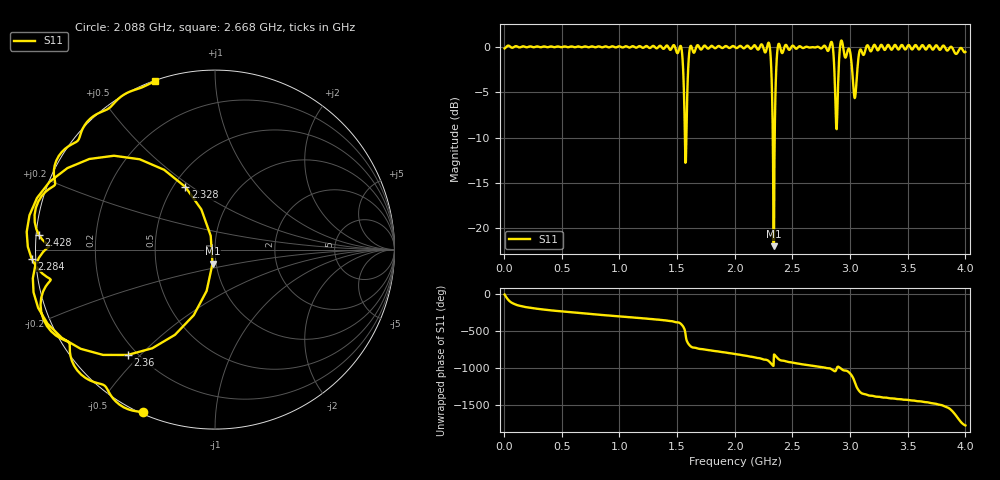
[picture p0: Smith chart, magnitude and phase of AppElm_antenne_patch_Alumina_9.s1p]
! TOUCHSTONE file generated by CST MICROWAVE STUDIO
! Date and time: Thu Jun  9 15:37:41 2022
! Project name: AppElm_antenne_patch_Alumina.cst
! Parameters = {L=30.5; W=41.8; e=0.035; h=1.6; lambda=0.190476; ls=90; w0=1.12; w1=0.373; ws=103.5; y0=14; y1=10}
! Header version: 2018
! Port assignment regex: !\s*Touchstone port\s*([0-9]+)\s*=\s*(CST MWS port|CST DS port)\s*([0-9]+|Zmin|Zmax)\s*\(\"(.*)\"\)(\s*mode\s*([0-9]+))?.*
! Touchstone port assignment:
! Touchstone port 1 = CST MWS port 1 ("")
# GHz S MA R 50
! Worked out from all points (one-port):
!   1000 points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, 4 MHz to 4 GHz, reference 50 ohm
!   lowest |S11| = -22.0 dB at 2.34 GHz (marker M1), VSWR 1.17, Z = 48 - j7.59 ohm
!   |S11| at or under -10 dB: 1.568 GHz to 1.58 GHz (12.29 MHz wide, 0.781 % of centre); 2.33 GHz to 2.346 GHz (16.79 MHz wide, 0.718 % of centre)
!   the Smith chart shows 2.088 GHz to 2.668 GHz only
!   S11 on the Smith chart (normalised r, x): 2.088 GHz: 0.01, -0.65; 2.284 GHz: -0.01, -0.02; 2.328 GHz: 0.58, +0.47; 2.36 GHz: 0.16, -0.46; 2.428 GHz: 0.01, +0.04; 2.668 GHz: 0.00, +0.71
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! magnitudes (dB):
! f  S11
! 4 MHz  -0.2
! 504 MHz  0.0
! 1.004 GHz  0.0
! 1.504 GHz  -0.7
! 1.536 GHz  -0.1
! 1.572 GHz  -12.8
! 1.624 GHz  0.0
! 2.004 GHz  -0.1
! 2.088 GHz  -0.1
! 2.284 GHz  0.2
! 2.308 GHz  -0.5
! 2.328 GHz  -8.3
! 2.34 GHz  -22.0
! 2.352 GHz  -5.6
! 2.36 GHz  -2.4
! 2.368 GHz  -0.6
! 2.38 GHz  0.3
! 2.428 GHz  -0.1
! 2.504 GHz  0.1
! 2.668 GHz  0.0
! 2.836 GHz  0.5
! 2.88 GHz  -9.0
! 2.924 GHz  0.7
! 3.004 GHz  -0.8
! 3.04 GHz  -5.7
! 3.092 GHz  -0.3
! 3.504 GHz  0.2
! 4 GHz  -0.6
